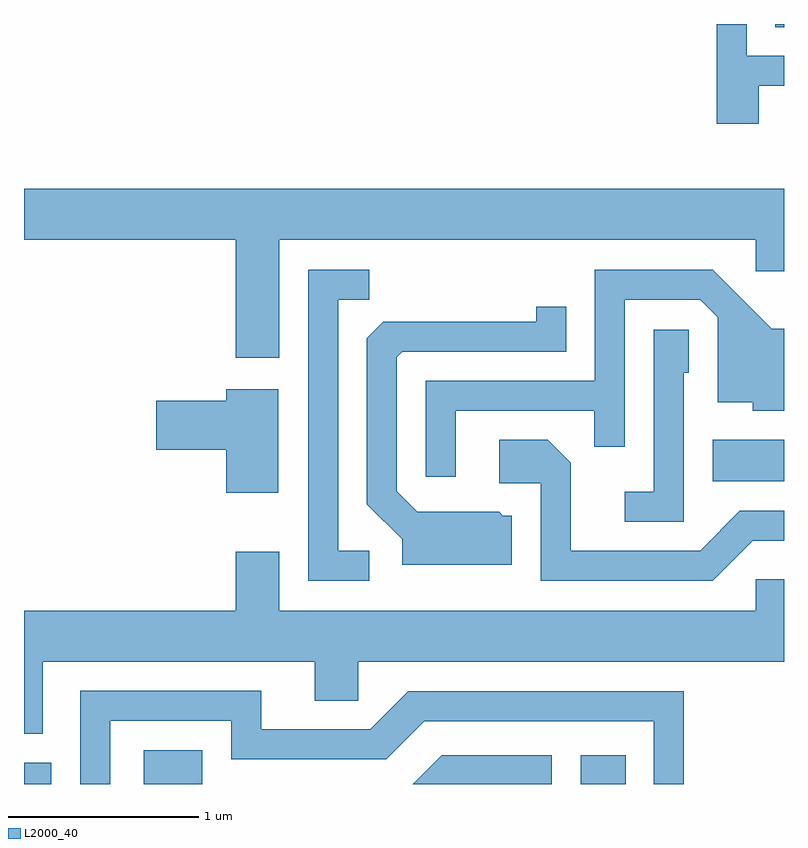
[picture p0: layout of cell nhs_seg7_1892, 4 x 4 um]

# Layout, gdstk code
import gdstk
lib = gdstk.Library(unit=1e-6, precision=1e-09)
def R(c, l, rs):  # rectangles x0, y0, x1, y1
    for r in rs: c.add(gdstk.rectangle(r[:2], r[2:], *l))
def P(c, l, *ps):  # polygons
    for p in ps: c.add(gdstk.Polygon(p, *l))
L2000_40 = (2000, 40)

nhs_seg7_1892 = lib.new_cell('nhs_seg7_1892')
R(nhs_seg7_1892, L2000_40, [(241.611,1800.252,241.754,1800.364), (242.241,1800.252,242.549,1800.429), (244.541,1800.252,244.778,1800.404), (245.236,1801.846,245.611,1802.064), (245.566,1804.236,245.611,1804.252)])
P(nhs_seg7_1892, L2000_40, [(245.479,1803.926),(245.611,1803.926),(245.611,1804.084),(245.414,1804.084),(245.414,1804.252),(245.256,1804.252),(245.256,1803.726),(245.479,1803.726)],
  [(242.954,1803.116),(245.461,1803.116),(245.461,1802.951),(245.611,1802.951),(245.611,1803.384),(241.611,1803.384),(241.611,1803.116),(242.726,1803.116),(242.726,1802.496),(242.954,1802.496)],
  [(243.428,1801.479),(243.264,1801.479),(243.264,1802.801),(243.428,1802.801),(243.428,1802.959),(243.106,1802.959),(243.106,1801.321),(243.428,1801.321)],
  [(243.884,1802.216),(244.611,1802.216),(244.611,1802.028),(244.774,1802.028),(244.774,1802.801),(245.169,1802.801),(245.261,1802.709),(245.261,1802.261),(245.446,1802.261),(245.446,1802.216),(245.611,1802.216),(245.611,1802.649),(245.547,1802.649),(245.237,1802.959),(244.616,1802.959),(244.616,1802.374),(243.726,1802.374),(243.726,1801.868),(243.884,1801.868)],
  [(244.179,1801.664),(244.132,1801.664),(244.112,1801.684),(243.682,1801.684),(243.574,1801.792),(243.574,1802.499),(243.602,1802.526),(244.464,1802.526),(244.464,1802.763),(244.306,1802.763),(244.306,1802.684),(243.502,1802.684),(243.416,1802.599),(243.416,1801.724),(243.601,1801.539),(243.601,1801.406),(244.179,1801.406)],
  [(245.084,1802.416),(245.109,1802.416),(245.109,1802.644),(244.926,1802.644),(244.926,1801.789),(244.773,1801.789),(244.773,1801.631),(245.084,1801.631)],
  [(242.949,1802.329),(242.676,1802.329),(242.676,1802.269),(242.306,1802.269),(242.306,1802.011),(242.676,1802.011),(242.676,1801.786),(242.949,1801.786)],
  [(245.447,1801.531),(245.611,1801.531),(245.611,1801.689),(245.379,1801.689),(245.169,1801.479),(244.489,1801.479),(244.489,1801.942),(244.367,1802.064),(244.111,1802.064),(244.111,1801.836),(244.331,1801.836),(244.331,1801.321),(245.237,1801.321)],
  [(241.709,1800.896),(243.141,1800.896),(243.141,1800.691),(243.369,1800.691),(243.369,1800.896),(245.611,1800.896),(245.611,1801.329),(245.461,1801.329),(245.461,1801.164),(242.954,1801.164),(242.954,1801.474),(242.726,1801.474),(242.726,1801.164),(241.611,1801.164),(241.611,1800.516),(241.709,1800.516)],
  [(242.064,1800.586),(242.701,1800.586),(242.701,1800.381),(243.517,1800.381),(243.717,1800.581),(244.926,1800.581),(244.926,1800.252),(245.084,1800.252),(245.084,1800.739),(243.634,1800.739),(243.434,1800.539),(242.859,1800.539),(242.859,1800.744),(241.906,1800.744),(241.906,1800.252),(242.064,1800.252)],
  [(244.389,1800.404),(243.809,1800.404),(243.657,1800.252),(244.389,1800.252)])

lib.write_gds('nhs_seg7_1892.gds')
